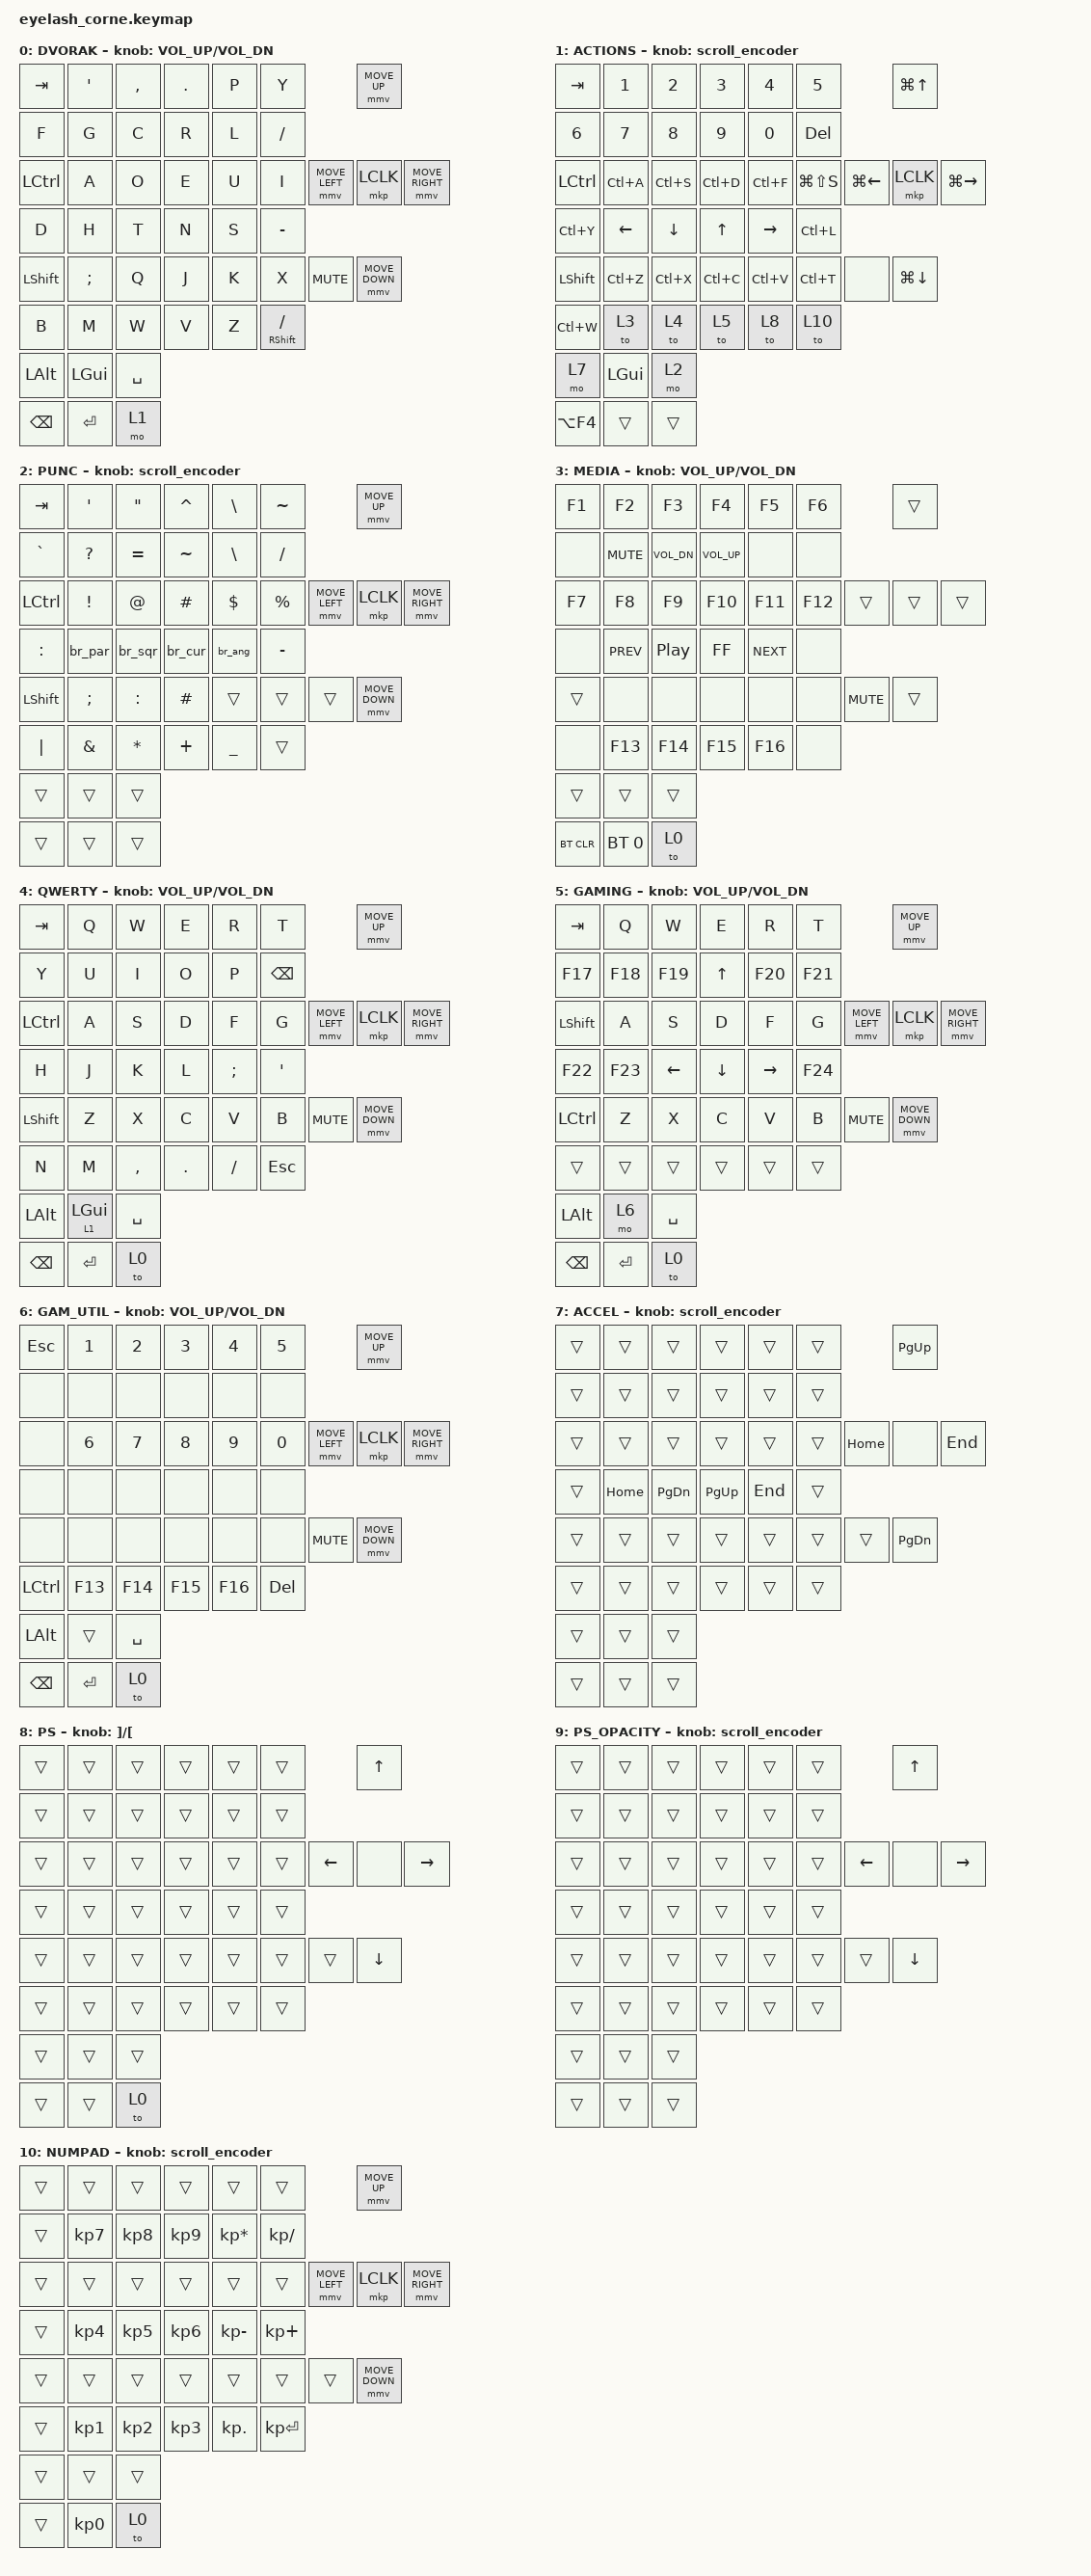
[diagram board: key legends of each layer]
#define ZMK_POINTING_DEFAULT_MOVE_VAL 1200
#define ZMK_POINTING_DEFAULT_SCRL_VAL 25

#include <input/processors.dtsi>
#include <zephyr/dt-bindings/input/input-event-codes.h>
#include <behaviors.dtsi>
#include <dt-bindings/zmk/bt.h>
#include <dt-bindings/zmk/keys.h>
#include <dt-bindings/zmk/outputs.h>
#include <dt-bindings/zmk/pointing.h>

&mmv_input_listener { input-processors = <&zip_xy_scaler 2 1>; };
&msc_input_listener { input-processors = <&zip_scroll_scaler 2 1>; };

&mmv {
    time-to-max-speed-ms = <500>;
    acceleration-exponent = <1>;
    trigger-period-ms = <16>;
};

/ {
    behaviors {
        scroll_encoder: scroll_encoder {
            compatible = "zmk,behavior-sensor-rotate";
            #sensor-binding-cells = <0>;
            bindings = <&msc SCRL_DOWN>, <&msc SCRL_UP>;
            tap-ms = <100>;
        };

        // bracket pairs: tap = open, shift+tap = close
        br_par: br_par {
            compatible = "zmk,behavior-mod-morph";
            #binding-cells = <0>;
            bindings = <&kp LPAR>, <&kp RPAR>;
            mods = <(MOD_LSFT|MOD_RSFT)>;
        };
        br_sqr: br_sqr {
            compatible = "zmk,behavior-mod-morph";
            #binding-cells = <0>;
            bindings = <&kp LBKT>, <&kp RBKT>;
            mods = <(MOD_LSFT|MOD_RSFT)>;
        };
        br_cur: br_cur {
            compatible = "zmk,behavior-mod-morph";
            #binding-cells = <0>;
            bindings = <&kp LBRC>, <&kp RBRC>;
            mods = <(MOD_LSFT|MOD_RSFT)>;
        };
        br_ang: br_ang {
            compatible = "zmk,behavior-mod-morph";
            #binding-cells = <0>;
            bindings = <&kp LT>, <&kp GT>;
            mods = <(MOD_LSFT|MOD_RSFT)>;
        };
    };
};

/ {
    combos {
        compatible = "zmk,combos";
        combo_esc {
            timeout-ms = <50>;
            key-positions = <0 1>;
            bindings = <&kp ESC>;
        };

        combo_altf4 {
            timeout-ms = <50>;
            key-positions = <3 40>;
            bindings = <&kp LA(F4)>;
            layers = <0 1 4 5 6>;
        };

        // F switch is dead: G+C types F (dvorak only; on qwerty these are U+I)
        combo_f {
            timeout-ms = <50>;
            require-prior-idle-ms = <150>;
            key-positions = <8 9>;
            bindings = <&kp F>;
            layers = <0>;
        };
    };

    keymap {
        compatible = "zmk,keymap";

        dvorak_layer { // 0
            display-name = "DVORAK";
// Row layout: [6 left] [joy↑] [6 right]         = 13
//             [6 left] [joy←][joy●][joy→] [6 right] = 15
//             [6 left] [extra][joy↓] [6 right]   = 14
//             [3 thumb]               [3 thumb]   =  6
// -----------------------------------------------------------------------
// | TAB  |  '  |  ,  |  .  |  P  |  Y  |        ↑        |  F  |  G  |  C  |  R  |  L  |  /   |
// | CTRL |  A  |  O  |  E  |  U  |  I  |  ←  |  ●  |  →  |  D  |  H  |  T  |  N  |  S  |  -   |
// | SHFT |  ;  |  Q  |  J  |  K  |  X  |     |  ↓        |  B  |  M  |  W  |  V  |  Z  | / RSFT |
//                    | ALT |SUPER|   SPC    |            | BSPC| ENT | MO1 |
// F switch dead -> G+C combo.  / switch dead -> tap RSHFT for /, shift+tap for ?
            bindings = <
&kp TAB   &kp SQT  &kp COMMA &kp DOT  &kp P    &kp Y                                &mmv MOVE_UP
&kp F     &kp G    &kp C     &kp R    &kp L    &kp FSLH

&kp LCTRL &kp A    &kp O     &kp E    &kp U    &kp I                &mmv MOVE_LEFT  &mkp LCLK  &mmv MOVE_RIGHT
&kp D     &kp H    &kp T     &kp N    &kp S    &kp MINUS

&kp LSHFT &kp SEMI &kp Q     &kp J    &kp K    &kp X                &kp C_MUTE      &mmv MOVE_DOWN
&kp B     &kp M    &kp W     &kp V    &kp Z    &mt RSHFT FSLH

&kp LALT  &kp LGUI &kp SPACE
&kp BSPC  &kp RET  &mo 1
            >;
            sensor-bindings = <&inc_dec_kp C_VOL_UP C_VOL_DN>;
        };

        quick_actions { // 1
            display-name = "ACTIONS";
// -----------------------------------------------------------------------
// | TAB |  1  |  2  |  3  |  4  |  5  |        ↑        |  6  |  7  |  8  |  9  |  0  | DEL |
// | CTRL| ALL | SAVE| DSEL| FIND| SS  |  ←  |  ●  |  →  |CTRLY| LFT | DWN |  UP | RGT |CTRLL|
// | SHFT| UNDO| CUT | COPY|PASTE|CTRLT|     |  ↓        |CTRLW| TO3 | TO4 | TO5 | TO8 | TO10   |
//                   | MO7 |SUPER| PUNC|                 |ALTF4|    |     |
            bindings = <
&kp TAB   &kp N1    &kp N2    &kp N3    &kp N4    &kp N5                                &kp LG(UP)                      
&kp N6    &kp N7    &kp N8    &kp N9    &kp N0    &kp DEL

&kp LCTRL &kp LC(A) &kp LC(S)  &kp LC(D)  &kp LC(F)  &kp LG(LS(S))            &kp LG(LEFT)  &mkp LCLK  &kp LG(RIGHT) 
&kp LC(Y)    &kp LEFT  &kp DOWN  &kp UP   &kp RIGHT  &kp LC(L)

&kp LSHFT  &kp LC(Z)  &kp LC(X)  &kp LC(C)   &kp LC(V) &kp LC(T)              &none     &kp LG(DOWN)                     
&kp LC(W)  &to 3   &to 4   &to 5 &to 8    &to 10
                            
&mo 7     &kp LGUI    &mo 2
&kp LA(F4)   &trans    &trans
            >;
            sensor-bindings = <&scroll_encoder>;
        };

        punctuation { // 2
            display-name = "PUNC";
// -----------------------------------------------------------------------
// | TAB |  '  |  "  |  ^  |  \  |  ~  |        ↑        |  `  |  ?  |  =  |  ~  |  \  |  /  |
// | CTRL|  !  |  @  |  £  |  $  |  %  |  ←  |  ●  |  →  |  :  | ( ) | [ ] | { } | < > |  -  |
// | SHFT|  ;  |  :  |  #  |     |     |     |  ↓        | '|' |  &  |  *  |  +  |  _  | RSFT|
// bracket keys: tap = open, hold shift = close
//                   |     |     |     |                 |     |     |     |
            bindings = <
&kp TAB    &kp APOS  &kp DQT    &kp CARET  &kp BSLH  &kp TILDE                                          &mmv MOVE_UP
&kp GRAVE  &kp QMARK &kp EQUAL  &kp TILDE &kp BSLH  &kp FSLH

&kp LCTRL  &kp EXCL  &kp AT     &kp POUND  &kp DLLR  &kp PRCNT                          &mmv MOVE_LEFT  &mkp LCLK  &mmv MOVE_RIGHT   
&kp COLON  &br_par   &br_sqr    &br_cur   &br_ang   &kp MINUS

&kp LSHFT  &kp SEMI  &kp COLON  &kp HASH   &trans    &trans                             &trans          &mmv MOVE_DOWN
&kp PIPE   &kp AMPS  &kp ASTRK  &kp PLUS  &kp UNDER &trans

&trans     &trans    &trans
&trans     &trans    &trans
            >;
            sensor-bindings = <&scroll_encoder>;
        };

        media { // 3
            display-name = "MEDIA";
// -----------------------------------------------------------------------
// | F1  | F2  | F3  | F4  | F5  | F6  |        ↑        |     |MUTE | V↑  | V↓  |     |     |
// | F7  | F8  | F9  | F10 | F11 | F12 |  ←  |  ●  |  →  |     |PREV | PP  | FF  | NEXT |     |
// |     |     |     |     |     |     |     |  ↓        |     | F13 | F14 | F15 | F16 |     |
//                   |     |     |     |                 |BTCLR|BT0  | →DV |
            bindings = <
&kp F1 &kp F2  &kp F3  &kp F4   &kp F5   &kp F6                                    &trans                         
&none   &kp C_MUTE  &kp C_VOL_DN  &kp C_VOL_UP  &none  &none

&kp F7   &kp F8  &kp F9  &kp F10   &kp F11  &kp F12                        &trans  &trans  &trans      
&none  &kp C_PREV &kp C_PP  &kp C_FF &kp C_NEXT  &none

&trans  &none  &none  &none  &none  &none                                  &kp C_MUTE  &trans
&none   &kp F13  &kp F14  &kp F15 &kp F16  &none

&trans  &trans  &trans
&bt BT_CLR  &bt BT_SEL 0  &to 0

            >;
            sensor-bindings = <&inc_dec_kp C_VOL_UP C_VOL_DN>;
        };

        qwerty { // 4
            display-name = "QWERTY";
// -----------------------------------------------------------------------
// | TAB |  Q  |  W  |  E  |  R  |  T  |        ↑        |  Y  |  U  |  I  |  O  |  P  | BSPC|
// | CTRL|  A  |  S  |  D  |  F  |  G  |  ←  |  ●  |  →  |  H  |  J  |  K  |  L  |  ;  |  '  |
// | SHFT|  Z  |  X  |  C  |  V  |  B  |     |  ↓        |  N  |  M  |  ,  |  .  |  /  | ESC |
//                   | ALT | GUI | SPC |                 | BSPC| ENT | →DV |
            bindings = <
&kp TAB  &kp Q  &kp W  &kp E   &kp R   &kp T                                        &mmv MOVE_UP
&kp Y    &kp U  &kp I  &kp O   &kp P   &kp BSPC

&kp LCTRL  &kp A  &kp S  &kp D     &kp F    &kp G                   &mmv MOVE_LEFT  &mkp LCLK  &mmv MOVE_RIGHT
&kp H      &kp J  &kp K  &kp L     &kp SEMI  &kp SQT

&kp LSHFT  &kp Z  &kp X  &kp C     &kp V    &kp B                   &kp C_MUTE      &mmv MOVE_DOWN
&kp N      &kp M    &kp COMMA  &kp DOT  &kp FSLH  &kp ESC

&kp LALT  &lt 1 LGUI &kp SPACE
&kp BSPC  &kp RET  &to 0
            >;
            sensor-bindings = <&inc_dec_kp C_VOL_UP C_VOL_DN>;
        };

        gaming { // 5
            display-name = "GAMING";
// -----------------------------------------------------------------------
// | TAB |  Q  |  W  |  E  |  R  |  T  |        ↑        | F17 | F18 | F19 |  UP | F20 | F21 |
// | SHFT|  A  |  S  |  D  |  F  |  G  |  ←  |  ●  |  →  | F22 | F23 | LFT | DWN | RGT | F24 |
// | CTRL|  Z  |  X  |  C  |  V  |  B  |     |  ↓        |     |     |     |     |     |     |
//                   | ALT | MO6 | SPC |                 |BSPC| ENT| →DV |
            bindings = <
&kp TAB  &kp Q  &kp W  &kp E   &kp R   &kp T                                        &mmv MOVE_UP
&kp F17   &kp F18   &kp F19   &kp UP    &kp F20   &kp F21

&kp LSHFT  &kp A  &kp S  &kp D    &kp F    &kp G                   &mmv MOVE_LEFT  &mkp LCLK  &mmv MOVE_RIGHT
&kp F22   &kp F23   &kp LEFT    &kp DOWN    &kp RIGHT    &kp F24

&kp LCTRL  &kp Z  &kp X  &kp C     &kp V    &kp B                   &kp C_MUTE      &mmv MOVE_DOWN
&trans    &trans    &trans    &trans    &trans    &trans

&kp LALT  &mo 6 &kp SPACE
&kp BSPC  &kp RET  &to 0
            >;
            sensor-bindings = <&inc_dec_kp C_VOL_UP C_VOL_DN>;
        };
        gaming_util { // 6
            display-name = "GAM_UTIL";
// -----------------------------------------------------------------------
// | TAB |  1  |  2  |  3  |  4  |  5  |        ↑        |  F1 |  F2 | F3  | F4  | F5  | F6  |
// | SHFT|  6  |  7  |  8  |  9  |  0  |  ←  |  ●  |  →  |  F7 |  F8 | F9  | F10 | F11 | F12 |
// | CTRL| F13 | F14 | F15 | F16 | DEL |     |  ↓        |     |     |     |     |     |    |
//                   | ALT |     | SPC |                 | BSPC| ENT | →DV |
            sensor-bindings = <&inc_dec_kp C_VOL_UP C_VOL_DN>;
            bindings = <
&kp ESC  &kp N1  &kp N2  &kp N3   &kp N4   &kp N5                              &mmv MOVE_UP
&none    &none  &none  &none      &none    &none

&none &kp N6  &kp N7  &kp N8  &kp N9  &kp N0                   &mmv MOVE_LEFT  &mkp LCLK  &mmv MOVE_RIGHT
&none &none  &none  &none  &none &none

&none   &none    &none  &none  &none  &none                       &kp C_MUTE    &mmv MOVE_DOWN
&kp LCTRL  &kp F13  &kp F14  &kp F15   &kp F16  &kp DEL 
                        
&kp LALT  &trans   &kp SPACE 
&kp BSPC  &kp RET  &to 0
            >;
        };
     speedy_actions { // 7
            display-name = "ACCEL";
// -----------------------------------------------------------------------
// |     |     |     |     |     |     |        ↑        |     |     |     |     |     |     |
// |     |     |     |     |     |     |  ←  |  ●  |  →  |     |HOME |PG_DN|PG_UP| END |     |
// |     |     |     |     |     |     |     |  ↓        |     |     |     |     |     |     |
//                   |     |     |     |                 |     |     |     |
            bindings = <
&trans    &trans    &trans    &trans    &trans    &trans                           &kp PG_UP                        
&trans    &trans    &trans    &trans    &trans    &trans 

&trans    &trans    &trans    &trans    &trans    &trans                 &kp HOME  &none  &kp END 
&trans    &kp HOME  &kp PAGE_DOWN  &kp PAGE_UP    &kp END       &trans

&trans    &trans    &trans    &trans    &trans    &trans                 &trans    &kp PAGE_DOWN                      
&trans    &trans    &trans    &trans    &trans    &trans 
                            
&trans    &trans    &trans
&trans    &trans    &trans
            >;
            sensor-bindings = <&scroll_encoder>;
        };

    photoshop { // 8
                display-name = "PS";
    // -----------------------------------------------------------------------
    // |     |     |     |     |     |     |        ↑        |     |     |     |     |     |     |
    // |     |     |     |     |     |     |  ←  |  ●  |  →  |     |     |     |     |     |     |
    // |     |     |     |     |     |     |     |  ↓        |     |     |     |     |     |     |
    //                   |     |     |     |                 |     |     |     |
                bindings = <
    &trans    &trans    &trans    &trans    &trans    &trans                          &kp UP                       
    &trans    &trans    &trans    &trans    &trans    &trans 

    &trans    &trans    &trans    &trans    &trans    &trans                &kp LEFT   &none  &kp RIGHT 
    &trans    &trans    &trans    &trans    &trans    &trans

    &trans    &trans    &trans    &trans    &trans    &trans                &trans   &kp DOWN                      
    &trans    &trans    &trans    &trans    &trans    &trans 
                                
    &trans    &trans    &trans
    &trans    &trans    &to 0
                >;
                sensor-bindings = <&inc_dec_kp RBKT LBKT>;
            };

     photoshop2 { // 9
                display-name = "PS_OPACITY";
    // -----------------------------------------------------------------------
    // |     |     |     |     |     |     |        ↑        |     |     |     |     |     |     |
    // |     |     |     |     |     |     |  ←  |  ●  |  →  |     |     |     |     |     |     |
    // |     |     |     |     |     |     |     |  ↓        |     |     |     |     |     |     |
    //                   |     |     |     |                 |     |     |     |
                bindings = <
    &trans    &trans    &trans    &trans    &trans    &trans                          &kp UP                       
    &trans    &trans    &trans    &trans    &trans    &trans 

    &trans    &trans    &trans    &trans    &trans    &trans                &kp LEFT   &none  &kp RIGHT 
    &trans    &trans    &trans    &trans    &trans    &trans

    &trans    &trans    &trans    &trans    &trans    &trans                &trans   &kp DOWN                      
    &trans    &trans    &trans    &trans    &trans    &trans 
                                
    &trans    &trans    &trans
    &trans    &trans    &trans
                >;
                sensor-bindings = <&scroll_encoder>;
            };
            numpad { // 10
                display-name = "NUMPAD";
    // -----------------------------------------------------------------------
    // |     |     |     |     |     |     |        ↑        |     |  7  |  8  |  9  |  *  |  /  |
    // |     |     |     |     |     |     |  ←  |  ●  |  →  |     |  4  |  5  |  6  |  -  |  +  |
    // |     |     |     |     |     |     |     |  ↓        |     |  1  |  2  |  3  |  .  | ENT |
    //                   |     |     |     |                 |     |  0  | →DV |
                bindings = <
    &trans  &trans  &trans  &trans  &trans  &trans                          &mmv MOVE_UP
    &trans  &kp KP_N7  &kp KP_N8  &kp KP_N9  &kp KP_MULTIPLY  &kp KP_DIVIDE

    &trans  &trans  &trans  &trans  &trans  &trans  &mmv MOVE_LEFT  &mkp LCLK  &mmv MOVE_RIGHT
    &trans  &kp KP_N4  &kp KP_N5  &kp KP_N6  &kp KP_MINUS  &kp KP_PLUS

    &trans  &trans  &trans  &trans  &trans  &trans  &trans          &mmv MOVE_DOWN
    &trans  &kp KP_N1  &kp KP_N2  &kp KP_N3  &kp KP_DOT  &kp KP_ENTER

    &trans  &trans  &trans
    &trans  &kp KP_N0  &to 0
                >;
                sensor-bindings = <&scroll_encoder>;
            };


    };
};
